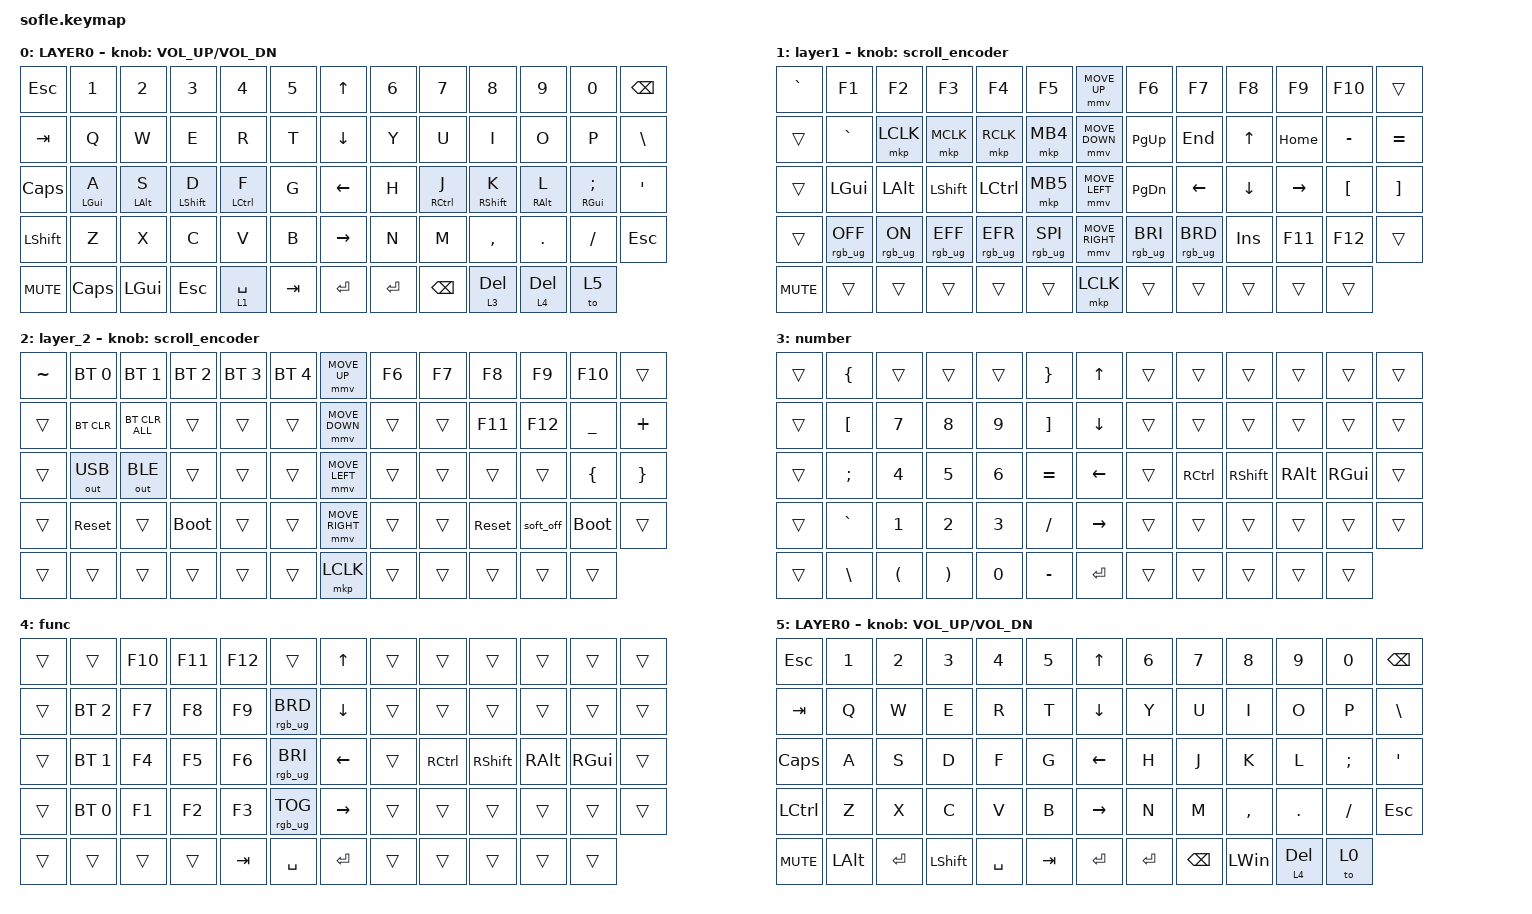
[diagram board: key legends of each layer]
#include <behaviors/mouse_keys.dtsi>
#include <dt-bindings/zmk/mouse.h>
#include <behaviors.dtsi>
#include <dt-bindings/zmk/bt.h>
#include <dt-bindings/zmk/keys.h>
#include <dt-bindings/zmk/outputs.h>
#include <dt-bindings/zmk/pointing.h>
#include <dt-bindings/zmk/pointing.h>
#include <dt-bindings/zmk/pointing.h>
#include <dt-bindings/zmk/rgb.h>

#define ZMK_MOUSE_DEFAULT_MOVE_VAL 1200  // 600
#define ZMK_MOUSE_DEFAULT_SCRL_VAL 20    // 10
#define U_MS_U &mmv MOVE_UP
#define U_MS_D &mmv MOVE_DOWN
#define U_MS_L &mmv MOVE_LEFT
#define U_MS_R &mmv MOVE_RIGHT
#define ZMK_MOUSE_DEFAULT_MOVE_VAL 1200  //  600
#define ZMK_MOUSE_DEFAULT_SCRL_VAL 20    // 10

/ {
    behaviors {
        mmv {
            acceleration-exponent = <1>;      // 1
            time-to-max-speed-ms = <900>;    // 40
            delay-ms = <0>;                   // 0
        };

        msc {
            acceleration-exponent = <1>;      // 0
            time-to-max-speed-ms = <400>;      // 500
            delay-ms = <0>;                   //   10
        };
    };

    scroll_encoder: scroll_encoder {
        compatible = "zmk,behavior-sensor-rotate";
        #sensor-binding-cells = <0>;
        bindings = <&msc SCRL_DOWN>, <&msc SCRL_UP>;

        tap-ms = <30>;
    };

    hmr: hmr {
        compatible = "zmk,behavior-hold-tap";
        label = "HMR";
        bindings = <&kp>, <&kp>;

        #binding-cells = <2>;
        flavor = "balanced";
        hold-trigger-key-positions = <0 1 2 3 4 5 13 14 15 16 17 18 26 27 28 29 30 31 39 40 41 42 43 44 52 53 54 55 56 57 59 60 61 62 63>;
        tapping-term-ms = <280>;
        quick-tap-ms = <175>;
    };

    hml: hml {
        compatible = "zmk,behavior-hold-tap";
        label = "HML";
        bindings = <&kp>, <&kp>;

        #binding-cells = <2>;
        tapping-term-ms = <280>;
        quick-tap-ms = <175>;
        flavor = "balanced";
        hold-trigger-key-positions = <11 12 20 21 22 23 24 25 33 34 35 36 37 38 46 47 48 49 50 51 59 60 61 62 63 7 8 9 10 53 54 55 56 57>;
    };

    keymap {
        compatible = "zmk,keymap";

        layer0 {
            bindings = <
&kp ESC     &kp N1           &kp N2           &kp N3             &kp N4        &kp N5     &kp UP_ARROW     &kp N6     &kp N7         &kp N8              &kp N9            &kp N0          &kp BACKSPACE
&kp TAB     &kp Q            &kp W            &kp E              &kp R         &kp T      &kp DOWN_ARROW   &kp Y      &kp U          &kp I               &kp O             &kp P           &kp BSLH
&kp CAPS    &hml LEFT_GUI A  &hml LEFT_ALT S  &hml LEFT_SHIFT D  &hml LCTRL F  &kp G      &kp LEFT_ARROW   &kp H      &hmr RCTRL J   &hmr RIGHT_SHIFT K  &hmr RIGHT_ALT L  &hmr RGUI SEMI  &kp APOS
&kp LSHFT   &kp Z            &kp X            &kp C              &kp V         &kp B      &kp RIGHT_ARROW  &kp N      &kp M          &kp COMMA           &kp DOT           &kp FSLH        &kp ESCAPE
&kp K_MUTE  &kp CAPS         &kp LEFT_GUI     &kp ESC            &lt 1 SPACE   &kp TAB    &kp ENTER        &kp ENTER  &kp BACKSPACE  &lt 3 DELETE        &lt 4 DELETE      &to 5
            >;

            sensor-bindings = <&inc_dec_kp C_VOLUME_UP C_VOL_DN>;
            display-name = "LAYER0";
        };

        layer_1 {
            bindings = <
&kp GRAVE   &kp F1           &kp F2          &kp F3           &kp F4           &kp F5             &mmv MOVE_UP     &kp F6           &kp F7           &kp F8      &kp F9     &kp F10           &trans
&trans      &kp GRAVE        &mkp LCLK       &mkp MCLK        &mkp RCLK        &mkp MB4           &mmv MOVE_DOWN   &kp PG_UP        &kp END          &kp UP      &kp HOME   &kp MINUS         &kp EQUAL
&trans      &kp LGUI         &kp LALT        &kp LSHFT        &kp LCTRL        &mkp MB5           &mmv MOVE_LEFT   &kp PG_DN        &kp LEFT         &kp DOWN    &kp RIGHT  &kp LEFT_BRACKET  &kp RIGHT_BRACKET
&trans      &rgb_ug RGB_OFF  &rgb_ug RGB_ON  &rgb_ug RGB_EFF  &rgb_ug RGB_EFR  &rgb_ug RGB_SPI    &mmv MOVE_RIGHT  &rgb_ug RGB_BRI  &rgb_ug RGB_BRD  &kp INSERT  &kp F11    &kp F12           &trans
&kp C_MUTE  &trans           &trans          &trans           &trans           &trans             &mkp LCLK        &trans           &trans           &trans      &trans     &trans
            >;

            display-name = "layer1";
            sensor-bindings = <&scroll_encoder>;
        };

        layer_2 {
            bindings = <
&kp TILDE  &bt BT_SEL 0  &bt BT_SEL 1    &bt BT_SEL 2  &bt BT_SEL 3  &bt BT_SEL 4    &mmv MOVE_UP     &kp F6  &kp F7  &kp F8      &kp F9     &kp F10      &trans
&trans     &bt BT_CLR    &bt BT_CLR_ALL  &trans        &trans        &trans          &mmv MOVE_DOWN   &trans  &trans  &kp F11     &kp F12    &kp UNDER    &kp PLUS
&trans     &out OUT_USB  &out OUT_BLE    &trans        &trans        &trans          &mmv MOVE_LEFT   &trans  &trans  &trans      &trans     &kp LBRC     &kp RBRC
&trans     &sys_reset    &trans          &bootloader   &trans        &trans          &mmv MOVE_RIGHT  &trans  &trans  &sys_reset  &soft_off  &bootloader  &trans
&trans     &trans        &trans          &trans        &trans        &trans          &mkp LCLK        &trans  &trans  &trans      &trans     &trans
            >;

            sensor-bindings = <&scroll_encoder>;
        };

        number {
            bindings = <
&trans  &kp LEFT_BRACE  &trans                &trans                 &trans        &kp RIGHT_BRACE    &kp UP     &trans  &trans     &trans     &trans    &trans    &trans
&trans  &kp LBKT        &kp N7                &kp N8                 &kp NUMBER_9  &kp RBKT           &kp DOWN   &trans  &trans     &trans     &trans    &trans    &trans
&trans  &kp SEMI        &kp N4                &kp N5                 &kp N6        &kp EQUAL          &kp LEFT   &trans  &kp RCTRL  &kp RSHFT  &kp RALT  &kp RGUI  &trans
&trans  &kp GRAVE       &kp N1                &kp N2                 &kp N3        &kp FSLH           &kp RIGHT  &trans  &trans     &trans     &trans    &trans    &trans
&trans  &kp BACKSLASH   &kp LEFT_PARENTHESIS  &kp RIGHT_PARENTHESIS  &kp N0        &kp MINUS          &kp ENTER  &trans  &trans     &trans     &trans    &trans
            >;
        };

        func {
            bindings = <
&trans  &trans        &kp F10  &kp F11  &kp F12  &trans             &kp UP     &trans  &trans     &trans     &trans    &trans    &trans
&trans  &bt BT_SEL 2  &kp F7   &kp F8   &kp F9   &rgb_ug RGB_BRD    &kp DOWN   &trans  &trans     &trans     &trans    &trans    &trans
&trans  &bt BT_SEL 1  &kp F4   &kp F5   &kp F6   &rgb_ug RGB_BRI    &kp LEFT   &trans  &kp RCTRL  &kp RSHFT  &kp RALT  &kp RGUI  &trans
&trans  &bt BT_SEL 0  &kp F1   &kp F2   &kp F3   &rgb_ug RGB_TOG    &kp RIGHT  &trans  &trans     &trans     &trans    &trans    &trans
&trans  &trans        &trans   &trans   &kp TAB  &kp SPACE          &kp ENTER  &trans  &trans     &trans     &trans    &trans
            >;
        };

        gaming {
            display-name = "LAYER0";
            bindings = <
&kp ESC     &kp N1        &kp N2     &kp N3          &kp N4     &kp N5     &kp UP_ARROW     &kp N6     &kp N7         &kp N8     &kp N9        &kp N0    &kp BACKSPACE
&kp TAB     &kp Q         &kp W      &kp E           &kp R      &kp T      &kp DOWN_ARROW   &kp Y      &kp U          &kp I      &kp O         &kp P     &kp BSLH
&kp CAPS    &kp A         &kp S      &kp D           &kp F      &kp G      &kp LEFT_ARROW   &kp H      &kp J          &kp K      &kp L         &kp SEMI  &kp APOS
&kp LCTRL   &kp Z         &kp X      &kp C           &kp V      &kp B      &kp RIGHT_ARROW  &kp N      &kp M          &kp COMMA  &kp DOT       &kp FSLH  &kp ESCAPE
&kp C_MUTE  &kp LEFT_ALT  &kp ENTER  &kp LEFT_SHIFT  &kp SPACE  &kp TAB    &kp ENTER        &kp ENTER  &kp BACKSPACE  &kp LWIN   &lt 4 DELETE  &to 0
            >;

            sensor-bindings = <&inc_dec_kp C_VOLUME_UP C_VOL_DN>;
        };
    };
};
